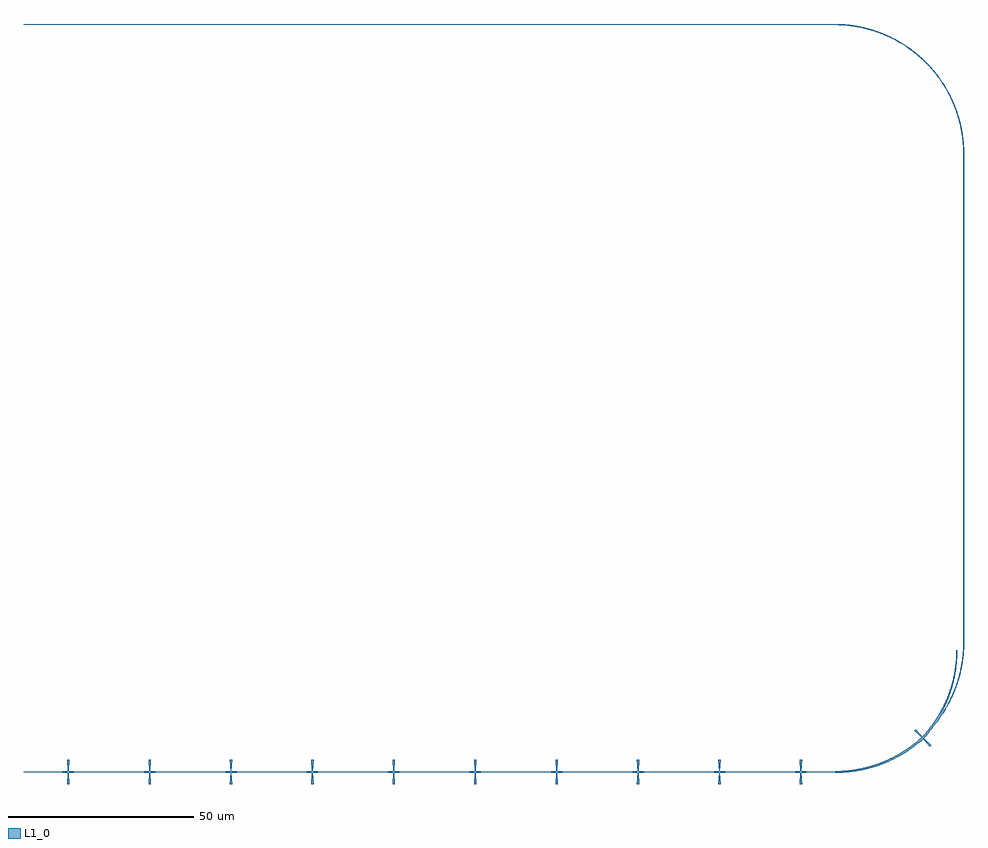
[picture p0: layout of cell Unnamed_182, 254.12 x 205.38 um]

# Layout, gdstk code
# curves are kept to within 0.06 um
from math import pi, radians
import gdstk
lib = gdstk.Library(unit=1e-6, precision=1e-09)
def P(c, l, *ps):  # polygons
    for p in ps: c.add(gdstk.Polygon(p, *l))
L1_0 = (1, 0)

taper_l10_w0p08_w0p25_p_ = lib.new_cell('taper_L10_W0p08_W0p25_P_fed8ac8b')
P(taper_l10_w0p08_w0p25_p_, L1_0, [(10,-0.125),(0,-0.04),(0,0.04),(10,0.125)])

unnamed_183 = lib.new_cell('Unnamed_183')
P(unnamed_183, L1_0, [(0,-0.125),(0,0.125),(209,0.125),(211.522,0.216),(214.031,0.49),(215.525,0.741),(217.006,1.056),(218.473,1.436),(219.921,1.879),(221.349,2.384),(222.753,2.951),(224.359,3.689),(225.704,4.385),(227.233,5.271),(228.507,6.09),(229.743,6.965),(230.941,7.892),(232.097,8.87),(233.21,9.897),(234.277,10.972),(235.297,12.092),(236.266,13.256),(237.185,14.46),(238.05,15.703),(238.99,17.199),(239.735,18.518),(240.421,19.868),(241.049,21.247),(241.616,22.651),(242.121,24.079),(242.632,25.771),(243.001,27.24),(243.305,28.723),(243.546,30.219),(243.744,31.974),(243.842,33.486),(243.875,35),(243.875,167),(243.842,168.514),(243.721,170.277),(243.473,172.281),(243.161,174.02),(242.698,175.986),(242.121,177.921),(241.433,179.82),(240.742,181.446),(239.97,183.035),(238.99,184.801),(237.91,186.507),(236.884,187.946),(235.788,189.331),(234.45,190.844),(233.21,192.103),(231.717,193.462),(230.147,194.732),(228.715,195.768),(226.583,197.118),(224.359,198.311),(222.054,199.34),(219.921,200.121),(217.497,200.824),(215.028,201.35),(212.528,201.696),(210.01,201.86),(0,201.875),(0,202.125),(209,202.125),(211.033,202.066),(212.806,201.918),(214.57,201.681),(216.319,201.354),(218.296,200.873),(220.24,200.278),(221.911,199.666),(223.549,198.97),(225.15,198.192),(226.709,197.334),(228.223,196.398),(229.687,195.387),(231.295,194.142),(232.641,192.978),(233.927,191.747),(235.148,190.453),(236.462,188.9),(237.387,187.687),(238.117,186.646),(238.809,185.58),(239.587,184.268),(240.756,182.011),(241.378,180.618),(241.849,179.437),(242.278,178.24),(242.735,176.785),(243.067,175.558),(243.406,174.071),(243.827,171.564),(243.993,170.047),(244.08,168.779),(244.125,167),(244.11,33.983),(243.993,31.953),(243.793,30.184),(243.505,28.428),(243.067,26.442),(242.514,24.485),(241.939,22.801),(241.278,21.148),(240.423,19.303),(239.587,17.732),(238.537,15.991),(237.536,14.519),(236.303,12.902),(235.148,11.547),(233.747,10.073),(232.453,8.852),(230.9,7.538),(229.687,6.613),(228.646,5.883),(227.58,5.191),(226.268,4.413),(224.924,3.692),(223.78,3.136),(222.383,2.524),(221.199,2.061),(219.757,1.563),(218.54,1.195),(217.311,0.872),(215.821,0.544),(214.57,0.319),(213.059,0.11),(211.794,-0.014),(210.271,-0.102)])

taper_l3_w0p25_w0p6_pno_ = lib.new_cell('taper_L3_W0p25_W0p6_PNo_16a215aa')
P(taper_l3_w0p25_w0p6_pno_, L1_0, [(3,-0.3),(0,-0.125),(0,0.125),(3,0.3)])

unnamed_186 = lib.new_cell('Unnamed_186')
P(unnamed_186, L1_0, [(0,-0.3),(0,0.3),(1.766,0.343),(3.527,0.473),(5.281,0.688),(7.023,0.99),(8.748,1.378),(10.452,1.851),(12.131,2.41),(13.781,3.053),(16.527,4.349),(18.936,5.748),(20.407,6.74),(21.824,7.808),(23.183,8.949),(24.66,10.34),(24.837,10.163),(22.386,7.924),(20.984,6.814),(19.529,5.773),(18.023,4.806),(16.471,3.914),(14.875,3.1),(13.239,2.368),(10.109,1.234),(6.882,0.403),(3.587,-0.11),(1.796,-0.252)])

unnamed_185 = lib.new_cell('Unnamed_185')
unnamed_185.add(gdstk.Reference(unnamed_186, (0,0)))

unnamed_188 = lib.new_cell('Unnamed_188')
P(unnamed_188, L1_0, [(44.098,-29.777),(24.236,-10.048),(22.156,-8.202),(19.728,-6.385),(17.591,-5.037),(15.589,-3.959),(13.522,-3.014),(11.16,-2.124),(8.495,-1.345),(5.778,-0.779),(2.773,-0.41),(0,-0.3),(0,0.3),(2.565,0.206),(5.116,-0.076),(7.639,-0.545),(10.365,-1.272),(12.786,-2.122),(15.137,-3.146),(17.628,-4.467),(19.794,-5.838),(22.251,-7.686),(24.536,-9.74),(44.275,-29.6)])

unnamed_187 = lib.new_cell('Unnamed_187')
unnamed_187.add(gdstk.Reference(unnamed_188, (0,0)))

unnamed_182 = lib.new_cell('Unnamed_182')
unnamed_182.add(gdstk.Reference(taper_l10_w0p08_w0p25_p_, (0,-35)))
unnamed_182.add(gdstk.Reference(unnamed_183, (10,-35)))
unnamed_182.add(gdstk.Reference(taper_l10_w0p08_w0p25_p_, (0,167)))
unnamed_182.add(gdstk.Reference(taper_l3_w0p25_w0p6_pno_, (12,-34.75), rotation=pi/2))
unnamed_182.add(gdstk.Reference(taper_l3_w0p25_w0p6_pno_, (12,-35.25), rotation=3*pi/2))
unnamed_182.add(gdstk.Reference(taper_l3_w0p25_w0p6_pno_, (9,-35)))
unnamed_182.add(gdstk.Reference(taper_l3_w0p25_w0p6_pno_, (15,-35), rotation=pi))
unnamed_182.add(gdstk.Reference(taper_l3_w0p25_w0p6_pno_, (34,-34.75), rotation=pi/2))
unnamed_182.add(gdstk.Reference(taper_l3_w0p25_w0p6_pno_, (34,-35.25), rotation=3*pi/2))
unnamed_182.add(gdstk.Reference(taper_l3_w0p25_w0p6_pno_, (31,-35)))
unnamed_182.add(gdstk.Reference(taper_l3_w0p25_w0p6_pno_, (37,-35), rotation=pi))
unnamed_182.add(gdstk.Reference(taper_l3_w0p25_w0p6_pno_, (56,-34.75), rotation=pi/2))
unnamed_182.add(gdstk.Reference(taper_l3_w0p25_w0p6_pno_, (56,-35.25), rotation=3*pi/2))
unnamed_182.add(gdstk.Reference(taper_l3_w0p25_w0p6_pno_, (53,-35)))
unnamed_182.add(gdstk.Reference(taper_l3_w0p25_w0p6_pno_, (59,-35), rotation=pi))
unnamed_182.add(gdstk.Reference(taper_l3_w0p25_w0p6_pno_, (78,-34.75), rotation=pi/2))
unnamed_182.add(gdstk.Reference(taper_l3_w0p25_w0p6_pno_, (78,-35.25), rotation=3*pi/2))
unnamed_182.add(gdstk.Reference(taper_l3_w0p25_w0p6_pno_, (75,-35)))
unnamed_182.add(gdstk.Reference(taper_l3_w0p25_w0p6_pno_, (81,-35), rotation=pi))
unnamed_182.add(gdstk.Reference(taper_l3_w0p25_w0p6_pno_, (100,-34.75), rotation=pi/2))
unnamed_182.add(gdstk.Reference(taper_l3_w0p25_w0p6_pno_, (100,-35.25), rotation=3*pi/2))
unnamed_182.add(gdstk.Reference(taper_l3_w0p25_w0p6_pno_, (97,-35)))
unnamed_182.add(gdstk.Reference(taper_l3_w0p25_w0p6_pno_, (103,-35), rotation=pi))
unnamed_182.add(gdstk.Reference(taper_l3_w0p25_w0p6_pno_, (122,-34.75), rotation=pi/2))
unnamed_182.add(gdstk.Reference(taper_l3_w0p25_w0p6_pno_, (122,-35.25), rotation=3*pi/2))
unnamed_182.add(gdstk.Reference(taper_l3_w0p25_w0p6_pno_, (119,-35)))
unnamed_182.add(gdstk.Reference(taper_l3_w0p25_w0p6_pno_, (125,-35), rotation=pi))
unnamed_182.add(gdstk.Reference(taper_l3_w0p25_w0p6_pno_, (144,-34.75), rotation=pi/2))
unnamed_182.add(gdstk.Reference(taper_l3_w0p25_w0p6_pno_, (144,-35.25), rotation=3*pi/2))
unnamed_182.add(gdstk.Reference(taper_l3_w0p25_w0p6_pno_, (141,-35)))
unnamed_182.add(gdstk.Reference(taper_l3_w0p25_w0p6_pno_, (147,-35), rotation=pi))
unnamed_182.add(gdstk.Reference(taper_l3_w0p25_w0p6_pno_, (166,-34.75), rotation=pi/2))
unnamed_182.add(gdstk.Reference(taper_l3_w0p25_w0p6_pno_, (166,-35.25), rotation=3*pi/2))
unnamed_182.add(gdstk.Reference(taper_l3_w0p25_w0p6_pno_, (163,-35)))
unnamed_182.add(gdstk.Reference(taper_l3_w0p25_w0p6_pno_, (169,-35), rotation=pi))
unnamed_182.add(gdstk.Reference(taper_l3_w0p25_w0p6_pno_, (188,-34.75), rotation=pi/2))
unnamed_182.add(gdstk.Reference(taper_l3_w0p25_w0p6_pno_, (188,-35.25), rotation=3*pi/2))
unnamed_182.add(gdstk.Reference(taper_l3_w0p25_w0p6_pno_, (185,-35)))
unnamed_182.add(gdstk.Reference(taper_l3_w0p25_w0p6_pno_, (191,-35), rotation=pi))
unnamed_182.add(gdstk.Reference(taper_l3_w0p25_w0p6_pno_, (210,-34.75), rotation=pi/2))
unnamed_182.add(gdstk.Reference(taper_l3_w0p25_w0p6_pno_, (210,-35.25), rotation=3*pi/2))
unnamed_182.add(gdstk.Reference(taper_l3_w0p25_w0p6_pno_, (207,-35)))
unnamed_182.add(gdstk.Reference(taper_l3_w0p25_w0p6_pno_, (213,-35), rotation=pi))
unnamed_182.add(gdstk.Reference(unnamed_185, (241.891,-26.869), rotation=radians(45)))
unnamed_182.add(gdstk.Reference(unnamed_187, (244.012,-24.748), rotation=radians(225)))
unnamed_182.add(gdstk.Reference(taper_l3_w0p25_w0p6_pno_, (242.951,-25.809), rotation=radians(315)))
unnamed_182.add(gdstk.Reference(taper_l3_w0p25_w0p6_pno_, (242.951,-25.809), rotation=radians(135)))

lib.write_gds('Unnamed_182.gds')
